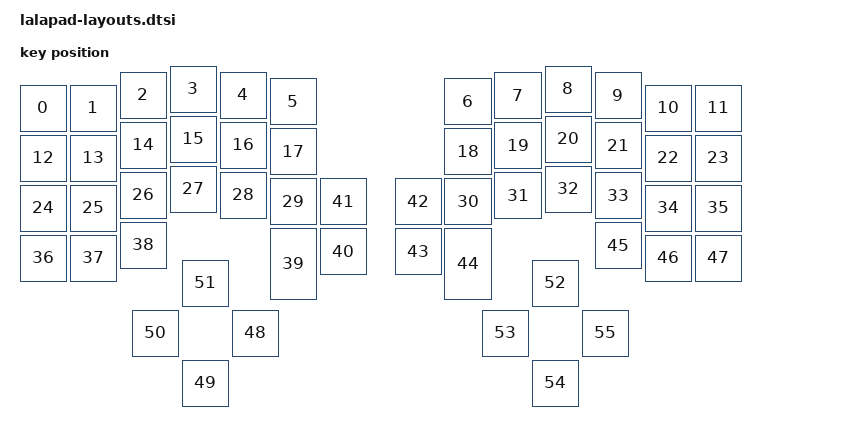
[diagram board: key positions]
#include <physical_layouts.dtsi>

/ {
    lalapad_physical_layout: lalapad_physical_layout {
        compatible = "zmk,physical-layout";
        display-name = "Default";

        kscan = <&kscan0>;
        transform = <&default_transform>;

        keys  //                     w   h    x    y     rot    rx    ry
            = <&key_physical_attrs 100 100    0   38       0     0     0>
            , <&key_physical_attrs 100 100  100   38       0     0     0>
            , <&key_physical_attrs 100 100  200   12       0     0     0>
            , <&key_physical_attrs 100 100  300    0       0     0     0>
            , <&key_physical_attrs 100 100  400   12       0     0     0>
            , <&key_physical_attrs 100 100  500   25       0     0     0>
            , <&key_physical_attrs 100 100  850   25       0     0     0>
            , <&key_physical_attrs 100 100  950   13       0     0     0>
            , <&key_physical_attrs 100 100 1050    0       0     0     0>
            , <&key_physical_attrs 100 100 1150   13       0     0     0>
            , <&key_physical_attrs 100 100 1250   38       0     0     0>
            , <&key_physical_attrs 100 100 1350   38       0     0     0>
            , <&key_physical_attrs 100 100    0  138       0     0     0>
            , <&key_physical_attrs 100 100  100  138       0     0     0>
            , <&key_physical_attrs 100 100  200  112       0     0     0>
            , <&key_physical_attrs 100 100  300  100       0     0     0>
            , <&key_physical_attrs 100 100  400  112       0     0     0>
            , <&key_physical_attrs 100 100  500  125       0     0     0>
            , <&key_physical_attrs 100 100  850  125       0     0     0>
            , <&key_physical_attrs 100 100  950  113       0     0     0>
            , <&key_physical_attrs 100 100 1050  100       0     0     0>
            , <&key_physical_attrs 100 100 1150  113       0     0     0>
            , <&key_physical_attrs 100 100 1250  138       0     0     0>
            , <&key_physical_attrs 100 100 1350  138       0     0     0>
            , <&key_physical_attrs 100 100    0  238       0     0     0>
            , <&key_physical_attrs 100 100  100  238       0     0     0>
            , <&key_physical_attrs 100 100  200  212       0     0     0>
            , <&key_physical_attrs 100 100  300  200       0     0     0>
            , <&key_physical_attrs 100 100  400  212       0     0     0>
            , <&key_physical_attrs 100 100  500  225       0     0     0>
            , <&key_physical_attrs 100 100  850  225       0     0     0>
            , <&key_physical_attrs 100 100  950  213       0     0     0>
            , <&key_physical_attrs 100 100 1050  200       0     0     0>
            , <&key_physical_attrs 100 100 1150  213       0     0     0>
            , <&key_physical_attrs 100 100 1250  238       0     0     0>
            , <&key_physical_attrs 100 100 1350  238       0     0     0>
            , <&key_physical_attrs 100 100    0  338       0     0     0>
            , <&key_physical_attrs 100 100  100  338       0     0     0>
            , <&key_physical_attrs 100 100  200  312       0     0     0>
            , <&key_physical_attrs 100 150  500  325       0     0     0>
            , <&key_physical_attrs 100 100  600  325       0     0     0>
            , <&key_physical_attrs 100 100  600  225       0     0     0>
            , <&key_physical_attrs 100 100  750  225       0     0     0>
            , <&key_physical_attrs 100 100  750  325       0     0     0>
            , <&key_physical_attrs 100 150  850  325       0     0     0>
            , <&key_physical_attrs 100 100 1150  313       0     0     0>
            , <&key_physical_attrs 100 100 1250  338       0     0     0>
            , <&key_physical_attrs 100 100 1350  338       0     0     0>
            , <&key_physical_attrs 100 100  425  488       0     0     0>
            , <&key_physical_attrs 100 100  325  588       0     0     0>
            , <&key_physical_attrs 100 100  225  488       0     0     0>
            , <&key_physical_attrs 100 100  325  388       0     0     0>
            , <&key_physical_attrs 100 100 1025  388       0     0     0>
            , <&key_physical_attrs 100 100  925  488       0     0     0>
            , <&key_physical_attrs 100 100 1025  588       0     0     0>
            , <&key_physical_attrs 100 100 1125  488       0     0     0>
            ;
    };
};

